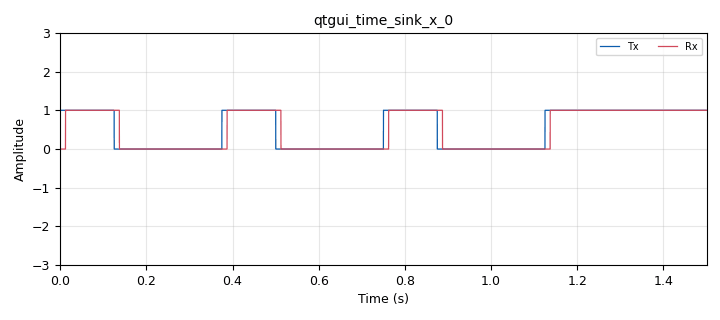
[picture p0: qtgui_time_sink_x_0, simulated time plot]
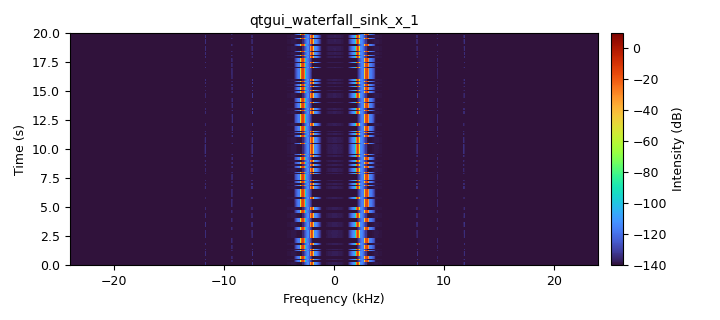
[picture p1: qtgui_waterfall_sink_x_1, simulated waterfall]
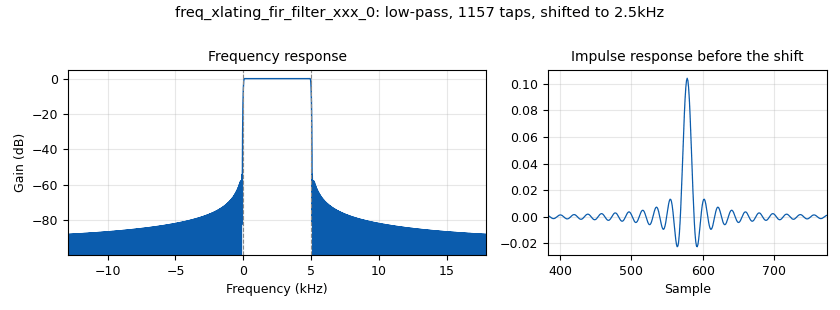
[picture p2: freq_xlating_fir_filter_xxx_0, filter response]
options:
  parameters:
    author: ubuntu
    generate_options: qt_gui
    id: test_vco
    output_language: python
    title: FSK demo
  states: {}

blocks:
- name: baud_rate
  id: variable
  parameters:
    value: '8'
  states: {}
- name: deviation
  id: variable
  parameters:
    value: '400'
  states: {}
- name: fc
  id: variable_qtgui_range
  parameters:
    label: Center frequency
    start: '100'
    step: '10'
    stop: '20000'
    value: '2500'
  states: {}
- name: interpolation
  id: variable
  parameters:
    value: int(samp_rate/baud_rate)
  states: {}
- name: samp_rate
  id: variable
  parameters:
    value: '48000'
  states: {}
- name: sensitivity
  id: variable
  parameters:
    value: 2*math.pi*deviation
  states: {}
- name: variable_low_pass_filter_taps_0
  id: variable_low_pass_filter_taps
  parameters:
    cutoff_freq: fc
    gain: '1.0'
    samp_rate: samp_rate
    width: '100'
    win: window.WIN_HAMMING
  states: {}
- name: analog_quadrature_demod_cf_1
  id: analog_quadrature_demod_cf
  parameters:
    gain: samp_rate/(2*math.pi*deviation)
  states: {}
- name: analog_random_source_x_0
  id: analog_random_source_x
  parameters:
    max: '2'
    min: '0'
    num_samps: '1000'
    repeat: 'True'
    type: byte
  states: {}
- name: blocks_add_const_vxx_0
  id: blocks_add_const_vxx
  parameters:
    const: fc/(sensitivity/(2*math.pi))
    type: float
  states: {}
- name: blocks_add_const_vxx_1
  id: blocks_add_const_vxx
  parameters:
    const: '-1'
    type: float
  states: {}
- name: blocks_char_to_float_0
  id: blocks_char_to_float
  parameters:
    scale: '1'
  states: {}
- name: blocks_char_to_float_1
  id: blocks_char_to_float
  parameters:
    scale: '1'
  states: {}
- name: blocks_multiply_const_vxx_1
  id: blocks_multiply_const_vxx
  parameters:
    const: '2'
    type: float
  states: {}
- name: blocks_repeat_0
  id: blocks_repeat
  parameters:
    interp: interpolation
    type: byte
  states: {}
- name: blocks_stream_to_tagged_stream_0
  id: blocks_stream_to_tagged_stream
  parameters:
    len_tag_key: '"packet_len"'
    packet_len: interpolation
    type: byte
  states: {state: disabled}
- name: blocks_throttle2_0
  id: blocks_throttle2
  parameters:
    samples_per_second: samp_rate
    type: byte
  states: {}
- name: blocks_vco_f_0
  id: blocks_vco_f
  parameters:
    amplitude: '1'
    samp_rate: samp_rate
    sensitivity: sensitivity
  states: {}
- name: blocks_wavfile_sink_0
  id: blocks_wavfile_sink
  parameters:
    bits_per_sample1: FORMAT_FLOAT
    file: vco.wav
    format: FORMAT_WAV
    samp_rate: samp_rate
  states: {}
- name: digital_binary_slicer_fb_0
  id: digital_binary_slicer_fb
  parameters: {}
  states: {}
- name: freq_xlating_fir_filter_xxx_0
  id: freq_xlating_fir_filter_xxx
  parameters:
    center_freq: fc
    decim: '1'
    samp_rate: samp_rate
    taps: variable_low_pass_filter_taps_0
    type: fcc
  states: {}
- name: import_0
  id: import
  parameters:
    imports: import math
  states: {}
- name: qtgui_time_sink_x_0
  id: qtgui_time_sink_x
  parameters:
    label1: Tx
    label2: Rx
    nconnections: '2'
    size: int(1.5*samp_rate)
    srate: samp_rate
    type: float
    ymax: '3'
    ymin: '-3'
  states: {}
- name: qtgui_waterfall_sink_x_1
  id: qtgui_waterfall_sink_x
  parameters:
    bw: samp_rate
    fc: '0'
    fftsize: '1024'
    type: float
  states: {}
- name: virtual_sink_0
  id: virtual_sink
  parameters:
    stream_id: origin
  states: {}
- name: virtual_source_0
  id: virtual_source
  parameters:
    stream_id: origin
  states: {}

connections:
- [analog_quadrature_demod_cf_1, '0', digital_binary_slicer_fb_0, '0']
- [analog_random_source_x_0, '0', blocks_repeat_0, '0']
- [blocks_add_const_vxx_0, '0', blocks_vco_f_0, '0']
- [blocks_add_const_vxx_1, '0', blocks_add_const_vxx_0, '0']
- [blocks_char_to_float_0, '0', blocks_multiply_const_vxx_1, '0']
- [blocks_char_to_float_0, '0', virtual_sink_0, '0']
- [blocks_char_to_float_1, '0', qtgui_time_sink_x_0, '1']
- [blocks_multiply_const_vxx_1, '0', blocks_add_const_vxx_1, '0']
- [blocks_repeat_0, '0', blocks_throttle2_0, '0']
- [blocks_stream_to_tagged_stream_0, '0', blocks_char_to_float_0, '0']
- [blocks_throttle2_0, '0', blocks_char_to_float_0, '0']
- [blocks_throttle2_0, '0', blocks_stream_to_tagged_stream_0, '0']
- [blocks_vco_f_0, '0', blocks_wavfile_sink_0, '0']
- [blocks_vco_f_0, '0', freq_xlating_fir_filter_xxx_0, '0']
- [blocks_vco_f_0, '0', qtgui_waterfall_sink_x_1, '0']
- [digital_binary_slicer_fb_0, '0', blocks_char_to_float_1, '0']
- [freq_xlating_fir_filter_xxx_0, '0', analog_quadrature_demod_cf_1, '0']
- [virtual_source_0, '0', qtgui_time_sink_x_0, '0']

metadata:
  file_format: 1
  grc_version: 3.10.9.2
